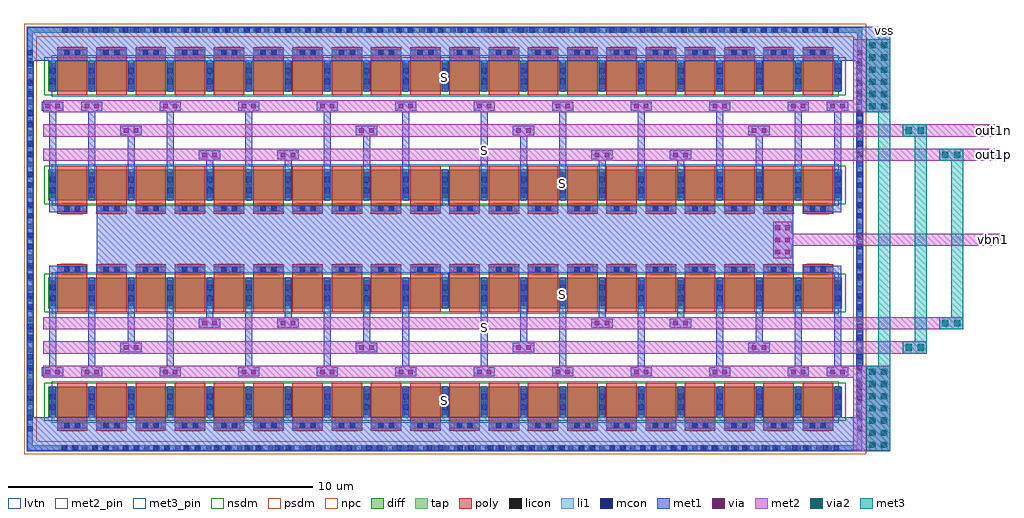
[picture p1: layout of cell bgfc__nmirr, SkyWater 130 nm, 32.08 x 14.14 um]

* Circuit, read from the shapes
.subckt bgfc__nmirr out1n out1p vbn1 vss
XM1 vss vss vss vss sky130_fd_pr__nfet_01v8_lvt w=1 l=1 m=44
XM2 out1n vbn1 vss vss sky130_fd_pr__nfet_01v8_lvt w=1 l=1 m=16
XM3 out1p vbn1 vss vss sky130_fd_pr__nfet_01v8_lvt w=1 l=1 m=16
XM4 vbn1 vbn1 vss vss sky130_fd_pr__nfet_01v8_lvt w=1 l=1 m=4
.ends

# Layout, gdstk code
from math import pi, radians
import gdstk
lib = gdstk.Library(unit=1e-6, precision=1e-09)
def R(c, l, rs):  # rectangles x0, y0, x1, y1
    for r in rs: c.add(gdstk.rectangle(r[:2], r[2:], *l))
def A(c, l, x, y, w, h, nx, ny, dx, dy):  # array of equal rectangles
    R(c, l, [(x+i*dx, y+j*dy, x+i*dx+w, y+j*dy+h) for i in range(nx) for j in range(ny)])
diff = (65, 20)
tap = (65, 44)
poly = (66, 20)
licon = (66, 44)
li1 = (67, 20)
mcon = (67, 44)
met1 = (68, 20)
via = (68, 44)
met2_pin = (69, 16)
met2 = (69, 20)
via2 = (69, 44)
met3_pin = (70, 16)
met3 = (70, 20)
nsdm = (93, 44)
psdm = (94, 20)
npc = (95, 20)
lvtn = (125, 44)

bgfcnm__guardring_n = lib.new_cell('bgfcnm__Guardring_N')
A(bgfcnm__guardring_n, licon, -72.395, 13.365, 0.17, 0.17, 75, 1, 0.34, 0)
A(bgfcnm__guardring_n, licon, -73.395, 14.525, 0.17, 0.17, 1, 35, 0, 0.34)
A(bgfcnm__guardring_n, licon, -46.135, 14.525, 0.17, 0.17, 1, 35, 0, 0.34)
A(bgfcnm__guardring_n, licon, -72.605, 27.085, 0.17, 0.17, 75, 1, 0.34, 0)
bgfcnm__guardring_n.add(gdstk.FlexPath([(-73.395,27.17),(-46.05,27.17),(-46.05,13.45),(-73.31,13.45),(-73.31,27.17)], 0.17, ends="flush", simple_path=True, layer=67, datatype=20))  # li1
bgfcnm__guardring_n.add(gdstk.FlexPath([(-73.52,27.17),(-46.05,27.17),(-46.05,13.45),(-73.31,13.45),(-73.31,27.17)], 0.42, ends="flush", simple_path=True, layer=94, datatype=20))  # psdm
bgfcnm__guardring_n.add(gdstk.FlexPath([(-73.395,27.17),(-46.05,27.17),(-46.05,13.45),(-73.31,13.45),(-73.31,27.17)], 0.17, ends="flush", simple_path=True, layer=65, datatype=44))  # tap

bgfcnm__m4 = lib.new_cell('bgfcnm__M4')
R(bgfcnm__m4, diff, [(-0.79,-0.655,0.79,0.345)])
R(bgfcnm__m4, poly, [(-0.5,-0.785,0.5,0.785)])
A(bgfcnm__m4, licon, -0.73, -0.58, 0.17, 0.17, 1, 3, 0, 0.34)
A(bgfcnm__m4, licon, 0.56, -0.58, 0.17, 0.17, 1, 3, 0, 0.34)
R(bgfcnm__m4, licon, [(-0.255,0.535,-0.085,0.705), (0.085,0.535,0.255,0.705)])
R(bgfcnm__m4, li1, [(-0.73,-0.675,-0.56,0.365), (0.56,-0.675,0.73,0.365), (-0.5,0.535,0.5,0.705)])
R(bgfcnm__m4, mcon, [(-0.73,-0.42,-0.56,-0.25), (0.56,-0.42,0.73,-0.25), (-0.73,-0.06,-0.56,0.11), (0.56,-0.06,0.73,0.11), (-0.265,0.535,-0.095,0.705), (0.095,0.535,0.265,0.705)])
R(bgfcnm__m4, met1, [(-0.76,-0.655,-0.53,0.345), (0.53,-0.655,0.76,0.345), (-0.48,0.505,0.48,0.735)])
R(bgfcnm__m4, nsdm, [(-0.915,-0.78,0.915,0.47)])
R(bgfcnm__m4, npc, [(-0.355,0.435,0.355,0.805)])
R(bgfcnm__m4, lvtn, [(-0.68,-0.835,0.68,0.525)])

via__li_m1 = lib.new_cell('via__LI_M1')
R(via__li_m1, li1, [(0.03,0.03,0.56,0.2)])
R(via__li_m1, mcon, [(0.03,0.03,0.2,0.2), (0.39,0.03,0.56,0.2)])
R(via__li_m1, met1, [(0,0,0.59,0.23)])

bgfcnm__dum = lib.new_cell('bgfcnm__DUM')
R(bgfcnm__dum, diff, [(-0.79,-0.655,0.79,0.345)])
R(bgfcnm__dum, poly, [(-0.5,-0.785,0.5,0.785)])
A(bgfcnm__dum, licon, -0.73, -0.58, 0.17, 0.17, 1, 3, 0, 0.34)
A(bgfcnm__dum, licon, 0.56, -0.58, 0.17, 0.17, 1, 3, 0, 0.34)
R(bgfcnm__dum, licon, [(-0.255,0.535,-0.085,0.705), (0.085,0.535,0.255,0.705)])
R(bgfcnm__dum, li1, [(-0.73,-0.675,-0.56,0.365), (0.56,-0.675,0.73,0.365), (-0.5,0.535,0.5,0.705)])
R(bgfcnm__dum, mcon, [(-0.73,-0.42,-0.56,-0.25), (0.56,-0.42,0.73,-0.25), (-0.73,-0.06,-0.56,0.11), (0.56,-0.06,0.73,0.11), (-0.265,0.535,-0.095,0.705), (0.095,0.535,0.265,0.705)])
R(bgfcnm__dum, met1, [(-0.76,-0.655,-0.53,0.345), (0.53,-0.655,0.76,0.345), (-0.48,0.505,0.48,0.735)])
R(bgfcnm__dum, nsdm, [(-0.915,-0.78,0.915,0.47)])
R(bgfcnm__dum, npc, [(-0.355,0.435,0.355,0.805)])
R(bgfcnm__dum, lvtn, [(-0.68,-0.835,0.68,0.525)])

via__m1_m2 = lib.new_cell('via__M1_M2')
R(via__m1_m2, met1, [(0,0.05,0.7,0.35)])
R(via__m1_m2, via, [(0.115,0.125,0.265,0.275), (0.435,0.125,0.585,0.275)])
R(via__m1_m2, met2, [(0.05,0,0.65,0.4)])

bgfcnm__m5 = lib.new_cell('bgfcnm__M5')
R(bgfcnm__m5, diff, [(-0.79,-0.655,0.79,0.345)])
R(bgfcnm__m5, poly, [(-0.5,-0.785,0.5,0.785)])
A(bgfcnm__m5, licon, -0.73, -0.58, 0.17, 0.17, 1, 3, 0, 0.34)
A(bgfcnm__m5, licon, 0.56, -0.58, 0.17, 0.17, 1, 3, 0, 0.34)
R(bgfcnm__m5, licon, [(-0.255,0.535,-0.085,0.705), (0.085,0.535,0.255,0.705)])
R(bgfcnm__m5, li1, [(-0.73,-0.675,-0.56,0.365), (0.56,-0.675,0.73,0.365), (-0.5,0.535,0.5,0.705)])
R(bgfcnm__m5, mcon, [(-0.73,-0.42,-0.56,-0.25), (0.56,-0.42,0.73,-0.25), (-0.73,-0.06,-0.56,0.11), (0.56,-0.06,0.73,0.11), (-0.265,0.535,-0.095,0.705), (0.095,0.535,0.265,0.705)])
R(bgfcnm__m5, met1, [(-0.76,-0.655,-0.53,0.345), (0.53,-0.655,0.76,0.345), (-0.48,0.505,0.48,0.735)])
R(bgfcnm__m5, nsdm, [(-0.915,-0.78,0.915,0.47)])
R(bgfcnm__m5, npc, [(-0.355,0.435,0.355,0.805)])
R(bgfcnm__m5, lvtn, [(-0.68,-0.835,0.68,0.525)])

via__m2_m3 = lib.new_cell('via__M2_M3')
R(via__m2_m3, met2, [(0,0,0.8,0.4)])
R(via__m2_m3, via2, [(0.1,0.1,0.3,0.3), (0.1,0.1,0.3,0.3), (0.5,0.1,0.7,0.3), (0.5,0.1,0.7,0.3)])
R(via__m2_m3, met3, [(0,0,0.8,0.4)])

bgfcnm__mb5 = lib.new_cell('bgfcnm__MB5')
R(bgfcnm__mb5, diff, [(-0.79,-0.655,0.79,0.345)])
R(bgfcnm__mb5, poly, [(-0.5,-0.785,0.5,0.785)])
A(bgfcnm__mb5, licon, -0.73, -0.58, 0.17, 0.17, 1, 3, 0, 0.34)
A(bgfcnm__mb5, licon, 0.56, -0.58, 0.17, 0.17, 1, 3, 0, 0.34)
R(bgfcnm__mb5, licon, [(-0.255,0.535,-0.085,0.705), (0.085,0.535,0.255,0.705)])
R(bgfcnm__mb5, li1, [(-0.73,-0.675,-0.56,0.365), (0.56,-0.675,0.73,0.365), (-0.5,0.535,0.5,0.705)])
R(bgfcnm__mb5, mcon, [(-0.73,-0.42,-0.56,-0.25), (0.56,-0.42,0.73,-0.25), (-0.73,-0.06,-0.56,0.11), (0.56,-0.06,0.73,0.11), (-0.265,0.535,-0.095,0.705), (0.095,0.535,0.265,0.705)])
R(bgfcnm__mb5, met1, [(-0.76,-0.655,-0.53,0.345), (0.53,-0.655,0.76,0.345), (-0.48,0.505,0.48,0.735)])
R(bgfcnm__mb5, nsdm, [(-0.915,-0.78,0.915,0.47)])
R(bgfcnm__mb5, npc, [(-0.355,0.435,0.355,0.805)])
R(bgfcnm__mb5, lvtn, [(-0.68,-0.835,0.68,0.525)])

bgfc__nmirr = lib.new_cell('bgfc__nmirr')
R(bgfc__nmirr, met1, [(0.095,0.095,27.585,1.215), (27.355,0.095,28.48,2.905), (13.725,5.795,13.955,5.955), (2.395,5.955,25.285,8.185), (13.725,8.185,13.955,8.345), (27.355,11.235,28.48,14.045), (0.095,12.925,27.585,14.045)])
R(bgfc__nmirr, met2_pin, [(31.68,6.84,32.08,7.24), (31.68,9.635,32.08,10.035), (31.68,10.435,32.08,10.835)])
R(bgfc__nmirr, met2, [(27.26,0.095,28.48,2.905), (27.26,11.235,28.48,13.64)])
R(bgfc__nmirr, met3_pin, [(28.08,13.845,28.48,14.045)])
bgfc__nmirr.add(gdstk.FlexPath([(28.28,13.845),(28.28,2.705)], 0.4, ends="extended", simple_path=True, layer=70, datatype=20))  # met3
bgfc__nmirr.add(gdstk.FlexPath([(29.48,10.635),(29.48,3.505)], 0.4, ends="extended", simple_path=True, layer=70, datatype=20))  # met3
bgfc__nmirr.add(gdstk.FlexPath([(30.68,9.835),(30.68,4.305)], 0.4, ends="extended", simple_path=True, layer=70, datatype=20))  # met3
bgfc__nmirr.add(gdstk.FlexPath([(24.835,7.04),(31.88,7.04)], 0.4, ends="extended", simple_path=True, layer=69, datatype=20))  # met2
bgfc__nmirr.add(gdstk.FlexPath([(0.84,2.705),(28.28,2.705)], 0.4, ends="extended", simple_path=True, layer=69, datatype=20))  # met2
bgfc__nmirr.add(gdstk.FlexPath([(0.84,3.505),(29.48,3.505)], 0.4, ends="extended", simple_path=True, layer=69, datatype=20))  # met2
bgfc__nmirr.add(gdstk.FlexPath([(0.84,4.305),(30.68,4.305)], 0.4, ends="extended", simple_path=True, layer=69, datatype=20))  # met2
bgfc__nmirr.add(gdstk.FlexPath([(0.84,11.435),(28.28,11.435)], 0.4, ends="extended", simple_path=True, layer=69, datatype=20))  # met2
bgfc__nmirr.add(gdstk.FlexPath([(0.84,10.635),(29.48,10.635)], 0.4, ends="extended", simple_path=True, layer=69, datatype=20))  # met2
bgfc__nmirr.add(gdstk.FlexPath([(0.84,9.835),(30.68,9.835)], 0.4, ends="extended", simple_path=True, layer=69, datatype=20))  # met2
bgfc__nmirr.add(gdstk.FlexPath([(30.68,9.835),(31.88,9.835)], 0.4, ends="extended", simple_path=True, layer=69, datatype=20))  # met2
bgfc__nmirr.add(gdstk.FlexPath([(29.48,10.635),(31.88,10.635)], 0.4, ends="extended", simple_path=True, layer=69, datatype=20))  # met2
bgfc__nmirr.add(gdstk.FlexPath([(0.94,5.795),(0.94,6.07),(1.105,6.07)], 0.23, ends="extended", simple_path=True, layer=68, datatype=20))  # met1
bgfc__nmirr.add(gdstk.FlexPath([(0.94,8.345),(0.94,8.07),(1.105,8.07)], 0.23, ends="extended", simple_path=True, layer=68, datatype=20))  # met1
bgfc__nmirr.add(gdstk.FlexPath([(1.22,0.94),(26.46,0.94)], 0.23, ends="extended", simple_path=True, layer=68, datatype=20))  # met1
bgfc__nmirr.add(gdstk.FlexPath([(26.74,4.68),(26.74,2.67)], 0.23, ends="extended", simple_path=True, layer=68, datatype=20))  # met1
bgfc__nmirr.add(gdstk.FlexPath([(26.74,9.46),(26.74,11.47)], 0.23, ends="extended", simple_path=True, layer=68, datatype=20))  # met1
bgfc__nmirr.add(gdstk.FlexPath([(27.47,13.93),(0.21,13.93),(0.21,0.21),(27.47,0.21),(27.47,13.93)], 0.23, ends="extended", simple_path=True, layer=68, datatype=20))  # met1
bgfc__nmirr.add(gdstk.FlexPath([(25.45,4.68),(25.45,2.67)], 0.23, ends="extended", simple_path=True, layer=68, datatype=20))  # met1
bgfc__nmirr.add(gdstk.FlexPath([(26.74,5.795),(26.74,6.07),(26.575,6.07)], 0.23, ends="extended", simple_path=True, layer=68, datatype=20))  # met1
bgfc__nmirr.add(gdstk.FlexPath([(26.74,8.345),(26.74,8.07),(26.575,8.07)], 0.23, ends="extended", simple_path=True, layer=68, datatype=20))  # met1
bgfc__nmirr.add(gdstk.FlexPath([(22.87,4.68),(22.87,2.67)], 0.23, ends="extended", simple_path=True, layer=68, datatype=20))  # met1
bgfc__nmirr.add(gdstk.FlexPath([(20.29,4.68),(20.29,2.67)], 0.23, ends="extended", simple_path=True, layer=68, datatype=20))  # met1
bgfc__nmirr.add(gdstk.FlexPath([(0.94,4.68),(0.94,2.67)], 0.23, ends="extended", simple_path=True, layer=68, datatype=20))  # met1
bgfc__nmirr.add(gdstk.FlexPath([(2.23,9.46),(2.23,11.47)], 0.23, ends="extended", simple_path=True, layer=68, datatype=20))  # met1
bgfc__nmirr.add(gdstk.FlexPath([(0.94,9.46),(0.94,11.47)], 0.23, ends="extended", simple_path=True, layer=68, datatype=20))  # met1
bgfc__nmirr.add(gdstk.FlexPath([(17.71,4.68),(17.71,2.67)], 0.23, ends="extended", simple_path=True, layer=68, datatype=20))  # met1
bgfc__nmirr.add(gdstk.FlexPath([(15.13,4.68),(15.13,2.67)], 0.23, ends="extended", simple_path=True, layer=68, datatype=20))  # met1
bgfc__nmirr.add(gdstk.FlexPath([(12.55,4.68),(12.55,2.67)], 0.23, ends="extended", simple_path=True, layer=68, datatype=20))  # met1
bgfc__nmirr.add(gdstk.FlexPath([(9.97,4.68),(9.97,2.67)], 0.23, ends="extended", simple_path=True, layer=68, datatype=20))  # met1
bgfc__nmirr.add(gdstk.FlexPath([(7.39,4.68),(7.39,2.67)], 0.23, ends="extended", simple_path=True, layer=68, datatype=20))  # met1
bgfc__nmirr.add(gdstk.FlexPath([(4.81,4.68),(4.81,2.67)], 0.23, ends="extended", simple_path=True, layer=68, datatype=20))  # met1
bgfc__nmirr.add(gdstk.FlexPath([(2.23,4.68),(2.23,2.67)], 0.23, ends="extended", simple_path=True, layer=68, datatype=20))  # met1
bgfc__nmirr.add(gdstk.FlexPath([(3.52,4.68),(3.52,3.47)], 0.23, ends="extended", simple_path=True, layer=68, datatype=20))  # met1
bgfc__nmirr.add(gdstk.FlexPath([(1.22,13.2),(26.46,13.2)], 0.23, ends="extended", simple_path=True, layer=68, datatype=20))  # met1
bgfc__nmirr.add(gdstk.FlexPath([(11.26,4.68),(11.26,3.47)], 0.23, ends="extended", simple_path=True, layer=68, datatype=20))  # met1
bgfc__nmirr.add(gdstk.FlexPath([(6.1,4.68),(6.1,4.27)], 0.23, ends="extended", simple_path=True, layer=68, datatype=20))  # met1
bgfc__nmirr.add(gdstk.FlexPath([(16.42,4.68),(16.42,3.47)], 0.23, ends="extended", simple_path=True, layer=68, datatype=20))  # met1
bgfc__nmirr.add(gdstk.FlexPath([(25.45,9.46),(25.45,11.47)], 0.23, ends="extended", simple_path=True, layer=68, datatype=20))  # met1
bgfc__nmirr.add(gdstk.FlexPath([(22.87,9.46),(22.87,11.47)], 0.23, ends="extended", simple_path=True, layer=68, datatype=20))  # met1
bgfc__nmirr.add(gdstk.FlexPath([(24.16,4.68),(24.16,3.47)], 0.23, ends="extended", simple_path=True, layer=68, datatype=20))  # met1
bgfc__nmirr.add(gdstk.FlexPath([(8.68,4.68),(8.68,4.27)], 0.23, ends="extended", simple_path=True, layer=68, datatype=20))  # met1
bgfc__nmirr.add(gdstk.FlexPath([(20.29,9.46),(20.29,11.47)], 0.23, ends="extended", simple_path=True, layer=68, datatype=20))  # met1
bgfc__nmirr.add(gdstk.FlexPath([(17.71,9.46),(17.71,11.47)], 0.23, ends="extended", simple_path=True, layer=68, datatype=20))  # met1
bgfc__nmirr.add(gdstk.FlexPath([(19,4.68),(19,4.27)], 0.23, ends="extended", simple_path=True, layer=68, datatype=20))  # met1
bgfc__nmirr.add(gdstk.FlexPath([(21.58,4.68),(21.58,4.27)], 0.23, ends="extended", simple_path=True, layer=68, datatype=20))  # met1
bgfc__nmirr.add(gdstk.FlexPath([(15.13,9.46),(15.13,11.47)], 0.23, ends="extended", simple_path=True, layer=68, datatype=20))  # met1
bgfc__nmirr.add(gdstk.FlexPath([(12.55,9.46),(12.55,11.47)], 0.23, ends="extended", simple_path=True, layer=68, datatype=20))  # met1
bgfc__nmirr.add(gdstk.FlexPath([(9.97,9.46),(9.97,11.47)], 0.23, ends="extended", simple_path=True, layer=68, datatype=20))  # met1
bgfc__nmirr.add(gdstk.FlexPath([(7.39,9.46),(7.39,11.47)], 0.23, ends="extended", simple_path=True, layer=68, datatype=20))  # met1
bgfc__nmirr.add(gdstk.FlexPath([(4.81,9.46),(4.81,11.47)], 0.23, ends="extended", simple_path=True, layer=68, datatype=20))  # met1
bgfc__nmirr.add(gdstk.FlexPath([(3.52,9.46),(3.52,10.67)], 0.23, ends="extended", simple_path=True, layer=68, datatype=20))  # met1
bgfc__nmirr.add(gdstk.FlexPath([(11.26,9.46),(11.26,10.67)], 0.23, ends="extended", simple_path=True, layer=68, datatype=20))  # met1
bgfc__nmirr.add(gdstk.FlexPath([(6.1,9.46),(6.1,9.87)], 0.23, ends="extended", simple_path=True, layer=68, datatype=20))  # met1
bgfc__nmirr.add(gdstk.FlexPath([(16.42,9.46),(16.42,10.67)], 0.23, ends="extended", simple_path=True, layer=68, datatype=20))  # met1
bgfc__nmirr.add(gdstk.FlexPath([(24.16,9.46),(24.16,10.67)], 0.23, ends="extended", simple_path=True, layer=68, datatype=20))  # met1
bgfc__nmirr.add(gdstk.FlexPath([(8.68,9.46),(8.68,9.87)], 0.23, ends="extended", simple_path=True, layer=68, datatype=20))  # met1
bgfc__nmirr.add(gdstk.FlexPath([(19,9.46),(19,9.87)], 0.23, ends="extended", simple_path=True, layer=68, datatype=20))  # met1
bgfc__nmirr.add(gdstk.FlexPath([(21.58,9.46),(21.58,9.87)], 0.23, ends="extended", simple_path=True, layer=68, datatype=20))  # met1
bgfc__nmirr.add(gdstk.Reference(bgfcnm__guardring_n, (-45.84,-13.24), rotation=pi, x_reflection=True))
bgfc__nmirr.add(gdstk.Reference(bgfcnm__m4, (15.775,5.45), rotation=pi, x_reflection=True))
bgfc__nmirr.add(gdstk.Reference(via__li_m1, (15.81,0.095), rotation=pi, x_reflection=True))
bgfc__nmirr.add(gdstk.Reference(bgfcnm__dum, (15.775,1.56), rotation=pi))
bgfc__nmirr.add(gdstk.Reference(via__li_m1, (0.325,7.31), rotation=3*pi/2, x_reflection=True))
bgfc__nmirr.add(gdstk.Reference(via__m1_m2, (14.78,2.505)))
bgfc__nmirr.add(gdstk.Reference(bgfcnm__m4, (15.775,8.69), rotation=pi))
bgfc__nmirr.add(gdstk.Reference(bgfcnm__dum, (15.775,12.58), rotation=pi, x_reflection=True))
bgfc__nmirr.add(gdstk.Reference(via__m1_m2, (14.78,11.635), x_reflection=True))
bgfc__nmirr.add(gdstk.Reference(via__li_m1, (27.585,7.31), rotation=3*pi/2, x_reflection=True))
bgfc__nmirr.add(gdstk.Reference(via__li_m1, (15.81,13.815), rotation=pi, x_reflection=True))
bgfc__nmirr.add(gdstk.Reference(via__m1_m2, (24.585,7.24), x_reflection=True))
bgfc__nmirr.add(gdstk.Reference(bgfcnm__m4, (24.805,8.69), rotation=pi))
bgfc__nmirr.add(gdstk.Reference(bgfcnm__m4, (23.515,8.69), rotation=pi))
bgfc__nmirr.add(gdstk.Reference(bgfcnm__m5, (22.225,8.69), rotation=pi))
bgfc__nmirr.add(gdstk.Reference(bgfcnm__m5, (20.935,8.69), rotation=pi))
bgfc__nmirr.add(gdstk.Reference(bgfcnm__dum, (17.065,12.58), rotation=pi, x_reflection=True))
bgfc__nmirr.add(gdstk.Reference(via__m2_m3, (29.68,10.835), rotation=pi))
bgfc__nmirr.add(gdstk.Reference(bgfcnm__dum, (19.645,12.58), rotation=pi, x_reflection=True))
bgfc__nmirr.add(gdstk.Reference(bgfcnm__dum, (18.355,12.58), rotation=pi, x_reflection=True))
bgfc__nmirr.add(gdstk.Reference(bgfcnm__dum, (24.805,12.58), rotation=pi, x_reflection=True))
bgfc__nmirr.add(gdstk.Reference(bgfcnm__dum, (23.515,12.58), rotation=pi, x_reflection=True))
bgfc__nmirr.add(gdstk.Reference(bgfcnm__dum, (22.225,12.58), rotation=pi, x_reflection=True))
bgfc__nmirr.add(gdstk.Reference(bgfcnm__dum, (20.935,12.58), rotation=pi, x_reflection=True))
bgfc__nmirr.add(gdstk.Reference(bgfcnm__dum, (26.095,8.69), rotation=pi))
bgfc__nmirr.add(gdstk.Reference(bgfcnm__dum, (26.095,12.58), rotation=pi, x_reflection=True))
bgfc__nmirr.add(gdstk.Reference(via__m1_m2, (25.1,11.635), x_reflection=True))
bgfc__nmirr.add(gdstk.Reference(via__m1_m2, (22.52,11.635), x_reflection=True))
bgfc__nmirr.add(gdstk.Reference(via__m1_m2, (19.94,11.635), x_reflection=True))
bgfc__nmirr.add(gdstk.Reference(via__m1_m2, (17.36,11.635), x_reflection=True))
bgfc__nmirr.add(gdstk.Reference(via__m2_m3, (30.88,10.035), rotation=pi))
bgfc__nmirr.add(gdstk.Reference(via__m1_m2, (16.07,10.835), x_reflection=True))
bgfc__nmirr.add(gdstk.Reference(via__m1_m2, (23.81,10.835), x_reflection=True))
bgfc__nmirr.add(gdstk.Reference(via__m1_m2, (18.65,10.035), x_reflection=True))
bgfc__nmirr.add(gdstk.Reference(via__m1_m2, (21.23,10.035), x_reflection=True))
bgfc__nmirr.add(gdstk.Reference(bgfcnm__m4, (17.065,8.69), rotation=pi))
bgfc__nmirr.add(gdstk.Reference(via__li_m1, (27.585,8.31), rotation=3*pi/2, x_reflection=True))
bgfc__nmirr.add(gdstk.Reference(via__li_m1, (27.585,9.31), rotation=3*pi/2, x_reflection=True))
bgfc__nmirr.add(gdstk.Reference(via__li_m1, (27.585,10.31), rotation=3*pi/2, x_reflection=True))
bgfc__nmirr.add(gdstk.Reference(via__li_m1, (27.585,11.31), rotation=3*pi/2, x_reflection=True))
bgfc__nmirr.add(gdstk.Reference(via__li_m1, (27.585,12.31), rotation=3*pi/2, x_reflection=True))
bgfc__nmirr.add(gdstk.Reference(via__li_m1, (27.585,13.31), rotation=3*pi/2, x_reflection=True))
bgfc__nmirr.add(gdstk.Reference(via__li_m1, (26.81,13.815), rotation=pi, x_reflection=True))
bgfc__nmirr.add(gdstk.Reference(via__li_m1, (25.81,13.815), rotation=pi, x_reflection=True))
bgfc__nmirr.add(gdstk.Reference(via__li_m1, (24.81,13.815), rotation=pi, x_reflection=True))
bgfc__nmirr.add(gdstk.Reference(via__li_m1, (23.81,13.815), rotation=pi, x_reflection=True))
bgfc__nmirr.add(gdstk.Reference(via__li_m1, (22.81,13.815), rotation=pi, x_reflection=True))
bgfc__nmirr.add(gdstk.Reference(via__li_m1, (21.81,13.815), rotation=pi, x_reflection=True))
bgfc__nmirr.add(gdstk.Reference(via__li_m1, (20.81,13.815), rotation=pi, x_reflection=True))
bgfc__nmirr.add(gdstk.Reference(via__li_m1, (19.81,13.815), rotation=pi, x_reflection=True))
bgfc__nmirr.add(gdstk.Reference(via__li_m1, (18.81,13.815), rotation=pi, x_reflection=True))
bgfc__nmirr.add(gdstk.Reference(via__li_m1, (17.81,13.815), rotation=pi, x_reflection=True))
bgfc__nmirr.add(gdstk.Reference(via__li_m1, (16.81,13.815), rotation=pi, x_reflection=True))
bgfc__nmirr.add(gdstk.Reference(via__m2_m3, (28.48,11.635), rotation=pi))
bgfc__nmirr.add(gdstk.Reference(via__m1_m2, (26.39,11.635), x_reflection=True))
bgfc__nmirr.add(gdstk.Reference(bgfcnm__m5, (19.645,8.69), rotation=pi))
bgfc__nmirr.add(gdstk.Reference(via__m2_m3, (28.48,12.035), rotation=pi))
bgfc__nmirr.add(gdstk.Reference(via__m2_m3, (28.48,12.435), rotation=pi))
bgfc__nmirr.add(gdstk.Reference(via__m2_m3, (28.48,12.835), rotation=pi))
bgfc__nmirr.add(gdstk.Reference(via__m1_m2, (27.73,11.635), x_reflection=True))
bgfc__nmirr.add(gdstk.Reference(via__m1_m2, (27.73,12.035), x_reflection=True))
bgfc__nmirr.add(gdstk.Reference(via__m1_m2, (27.73,12.435), x_reflection=True))
bgfc__nmirr.add(gdstk.Reference(via__m1_m2, (27.73,12.835), x_reflection=True))
bgfc__nmirr.add(gdstk.Reference(via__m2_m3, (28.48,13.235), rotation=pi))
bgfc__nmirr.add(gdstk.Reference(via__m1_m2, (27.73,13.235), x_reflection=True))
bgfc__nmirr.add(gdstk.Reference(via__m2_m3, (28.48,13.635), rotation=pi))
bgfc__nmirr.add(gdstk.Reference(via__m1_m2, (27.73,13.635), x_reflection=True))
bgfc__nmirr.add(gdstk.Reference(via__m2_m3, (28.48,13.635), rotation=pi))
bgfc__nmirr.add(gdstk.Reference(via__m1_m2, (27.73,13.635), x_reflection=True))
bgfc__nmirr.add(gdstk.Reference(bgfcnm__m5, (18.355,8.69), rotation=pi))
bgfc__nmirr.add(gdstk.Reference(via__m1_m2, (24.585,7.64), x_reflection=True))
bgfc__nmirr.add(gdstk.Reference(bgfcnm__dum, (10.615,12.58), rotation=pi, x_reflection=True))
bgfc__nmirr.add(gdstk.Reference(bgfcnm__m4, (11.905,8.69), rotation=pi))
bgfc__nmirr.add(gdstk.Reference(bgfcnm__m4, (10.615,8.69), rotation=pi))
bgfc__nmirr.add(gdstk.Reference(bgfcnm__dum, (9.325,12.58), rotation=pi, x_reflection=True))
bgfc__nmirr.add(gdstk.Reference(bgfcnm__dum, (8.035,12.58), rotation=pi, x_reflection=True))
bgfc__nmirr.add(gdstk.Reference(via__li_m1, (0.325,9.31), rotation=3*pi/2, x_reflection=True))
bgfc__nmirr.add(gdstk.Reference(via__li_m1, (0.325,10.31), rotation=3*pi/2, x_reflection=True))
bgfc__nmirr.add(gdstk.Reference(bgfcnm__dum, (4.165,12.58), rotation=pi, x_reflection=True))
bgfc__nmirr.add(gdstk.Reference(bgfcnm__dum, (2.875,12.58), rotation=pi, x_reflection=True))
bgfc__nmirr.add(gdstk.Reference(bgfcnm__dum, (6.745,12.58), rotation=pi, x_reflection=True))
bgfc__nmirr.add(gdstk.Reference(bgfcnm__dum, (5.455,12.58), rotation=pi, x_reflection=True))
bgfc__nmirr.add(gdstk.Reference(bgfcnm__m5, (9.325,8.69), rotation=pi))
bgfc__nmirr.add(gdstk.Reference(bgfcnm__m5, (8.035,8.69), rotation=pi))
bgfc__nmirr.add(gdstk.Reference(via__li_m1, (0.325,11.31), rotation=3*pi/2, x_reflection=True))
bgfc__nmirr.add(gdstk.Reference(via__li_m1, (0.325,12.31), rotation=3*pi/2, x_reflection=True))
bgfc__nmirr.add(gdstk.Reference(bgfcnm__m4, (4.165,8.69), rotation=pi))
bgfc__nmirr.add(gdstk.Reference(bgfcnm__m4, (2.875,8.69), rotation=pi))
bgfc__nmirr.add(gdstk.Reference(bgfcnm__dum, (1.585,8.69), rotation=pi))
bgfc__nmirr.add(gdstk.Reference(bgfcnm__dum, (1.585,12.58), rotation=pi, x_reflection=True))
bgfc__nmirr.add(gdstk.Reference(via__li_m1, (14.81,13.815), rotation=pi, x_reflection=True))
bgfc__nmirr.add(gdstk.Reference(via__li_m1, (13.81,13.815), rotation=pi, x_reflection=True))
bgfc__nmirr.add(gdstk.Reference(via__li_m1, (12.81,13.815), rotation=pi, x_reflection=True))
bgfc__nmirr.add(gdstk.Reference(via__li_m1, (11.81,13.815), rotation=pi, x_reflection=True))
bgfc__nmirr.add(gdstk.Reference(via__li_m1, (10.81,13.815), rotation=pi, x_reflection=True))
bgfc__nmirr.add(gdstk.Reference(via__li_m1, (9.81,13.815), rotation=pi, x_reflection=True))
bgfc__nmirr.add(gdstk.Reference(via__li_m1, (8.81,13.815), rotation=pi, x_reflection=True))
bgfc__nmirr.add(gdstk.Reference(via__li_m1, (7.81,13.815), rotation=pi, x_reflection=True))
bgfc__nmirr.add(gdstk.Reference(via__li_m1, (6.81,13.815), rotation=pi, x_reflection=True))
bgfc__nmirr.add(gdstk.Reference(via__li_m1, (5.81,13.815), rotation=pi, x_reflection=True))
bgfc__nmirr.add(gdstk.Reference(via__li_m1, (4.81,13.815), rotation=pi, x_reflection=True))
bgfc__nmirr.add(gdstk.Reference(via__li_m1, (3.81,13.815), rotation=pi, x_reflection=True))
bgfc__nmirr.add(gdstk.Reference(via__li_m1, (2.81,13.815), rotation=pi, x_reflection=True))
bgfc__nmirr.add(gdstk.Reference(via__li_m1, (1.81,13.815), rotation=pi, x_reflection=True))
bgfc__nmirr.add(gdstk.Reference(bgfcnm__m5, (6.745,8.69), rotation=pi))
bgfc__nmirr.add(gdstk.Reference(via__m1_m2, (0.59,11.635), x_reflection=True))
bgfc__nmirr.add(gdstk.Reference(bgfcnm__m5, (5.455,8.69), rotation=pi))
bgfc__nmirr.add(gdstk.Reference(via__li_m1, (0.325,13.31), rotation=3*pi/2, x_reflection=True))
bgfc__nmirr.add(gdstk.Reference(via__li_m1, (0.325,8.31), rotation=3*pi/2, x_reflection=True))
bgfc__nmirr.add(gdstk.Reference(bgfcnm__mb5, (14.485,8.69), rotation=pi))
bgfc__nmirr.add(gdstk.Reference(via__m1_m2, (12.2,11.635), x_reflection=True))
bgfc__nmirr.add(gdstk.Reference(via__m1_m2, (9.62,11.635), x_reflection=True))
bgfc__nmirr.add(gdstk.Reference(via__m1_m2, (7.04,11.635), x_reflection=True))
bgfc__nmirr.add(gdstk.Reference(via__m1_m2, (4.46,11.635), x_reflection=True))
bgfc__nmirr.add(gdstk.Reference(via__m1_m2, (1.88,11.635), x_reflection=True))
bgfc__nmirr.add(gdstk.Reference(via__m1_m2, (3.17,10.835), x_reflection=True))
bgfc__nmirr.add(gdstk.Reference(via__m1_m2, (10.91,10.835), x_reflection=True))
bgfc__nmirr.add(gdstk.Reference(via__m1_m2, (5.75,10.035), x_reflection=True))
bgfc__nmirr.add(gdstk.Reference(bgfcnm__mb5, (13.195,8.69), rotation=pi))
bgfc__nmirr.add(gdstk.Reference(bgfcnm__dum, (14.485,12.58), rotation=pi, x_reflection=True))
bgfc__nmirr.add(gdstk.Reference(via__m1_m2, (8.33,10.035), x_reflection=True))
bgfc__nmirr.add(gdstk.Reference(bgfcnm__dum, (13.195,12.58), rotation=pi, x_reflection=True))
bgfc__nmirr.add(gdstk.Reference(bgfcnm__dum, (11.905,12.58), rotation=pi, x_reflection=True))
bgfc__nmirr.add(gdstk.Reference(via__li_m1, (5.81,0.095), rotation=pi, x_reflection=True))
bgfc__nmirr.add(gdstk.Reference(via__li_m1, (4.81,0.095), rotation=pi, x_reflection=True))
bgfc__nmirr.add(gdstk.Reference(via__li_m1, (3.81,0.095), rotation=pi, x_reflection=True))
bgfc__nmirr.add(gdstk.Reference(via__li_m1, (2.81,0.095), rotation=pi, x_reflection=True))
bgfc__nmirr.add(gdstk.Reference(via__li_m1, (1.81,0.095), rotation=pi, x_reflection=True))
bgfc__nmirr.add(gdstk.Reference(via__li_m1, (0.325,1.31), rotation=3*pi/2, x_reflection=True))
bgfc__nmirr.add(gdstk.Reference(via__li_m1, (0.325,2.31), rotation=3*pi/2, x_reflection=True))
bgfc__nmirr.add(gdstk.Reference(via__li_m1, (0.325,3.31), rotation=3*pi/2, x_reflection=True))
bgfc__nmirr.add(gdstk.Reference(via__li_m1, (0.325,4.31), rotation=3*pi/2, x_reflection=True))
bgfc__nmirr.add(gdstk.Reference(bgfcnm__dum, (14.485,1.56), rotation=pi))
bgfc__nmirr.add(gdstk.Reference(bgfcnm__dum, (13.195,1.56), rotation=pi))
bgfc__nmirr.add(gdstk.Reference(bgfcnm__dum, (11.905,1.56), rotation=pi))
bgfc__nmirr.add(gdstk.Reference(bgfcnm__dum, (10.615,1.56), rotation=pi))
bgfc__nmirr.add(gdstk.Reference(bgfcnm__m4, (11.905,5.45), rotation=pi, x_reflection=True))
bgfc__nmirr.add(gdstk.Reference(bgfcnm__dum, (9.325,1.56), rotation=pi))
bgfc__nmirr.add(gdstk.Reference(bgfcnm__dum, (8.035,1.56), rotation=pi))
bgfc__nmirr.add(gdstk.Reference(bgfcnm__dum, (4.165,1.56), rotation=pi))
bgfc__nmirr.add(gdstk.Reference(bgfcnm__dum, (2.875,1.56), rotation=pi))
bgfc__nmirr.add(gdstk.Reference(bgfcnm__dum, (6.745,1.56), rotation=pi))
bgfc__nmirr.add(gdstk.Reference(bgfcnm__dum, (5.455,1.56), rotation=pi))
bgfc__nmirr.add(gdstk.Reference(via__li_m1, (0.325,5.31), rotation=3*pi/2, x_reflection=True))
bgfc__nmirr.add(gdstk.Reference(via__li_m1, (0.325,6.31), rotation=3*pi/2, x_reflection=True))
bgfc__nmirr.add(gdstk.Reference(bgfcnm__dum, (1.585,5.45), rotation=pi, x_reflection=True))
bgfc__nmirr.add(gdstk.Reference(bgfcnm__m4, (10.615,5.45), rotation=pi, x_reflection=True))
bgfc__nmirr.add(gdstk.Reference(bgfcnm__dum, (1.585,1.56), rotation=pi))
bgfc__nmirr.add(gdstk.Reference(bgfcnm__mb5, (13.195,5.45), rotation=pi, x_reflection=True))
bgfc__nmirr.add(gdstk.Reference(bgfcnm__m5, (9.325,5.45), rotation=pi, x_reflection=True))
bgfc__nmirr.add(gdstk.Reference(bgfcnm__m5, (8.035,5.45), rotation=pi, x_reflection=True))
bgfc__nmirr.add(gdstk.Reference(bgfcnm__m4, (4.165,5.45), rotation=pi, x_reflection=True))
bgfc__nmirr.add(gdstk.Reference(bgfcnm__m4, (2.875,5.45), rotation=pi, x_reflection=True))
bgfc__nmirr.add(gdstk.Reference(bgfcnm__m5, (6.745,5.45), rotation=pi, x_reflection=True))
bgfc__nmirr.add(gdstk.Reference(bgfcnm__m5, (5.455,5.45), rotation=pi, x_reflection=True))
bgfc__nmirr.add(gdstk.Reference(via__m1_m2, (1.88,2.505)))
bgfc__nmirr.add(gdstk.Reference(via__m1_m2, (0.59,2.505)))
bgfc__nmirr.add(gdstk.Reference(via__m1_m2, (12.2,2.505)))
bgfc__nmirr.add(gdstk.Reference(via__m1_m2, (9.62,2.505)))
bgfc__nmirr.add(gdstk.Reference(via__m1_m2, (7.04,2.505)))
bgfc__nmirr.add(gdstk.Reference(via__m1_m2, (4.46,2.505)))
bgfc__nmirr.add(gdstk.Reference(via__m1_m2, (3.17,3.305)))
bgfc__nmirr.add(gdstk.Reference(bgfcnm__mb5, (14.485,5.45), rotation=pi, x_reflection=True))
bgfc__nmirr.add(gdstk.Reference(via__li_m1, (14.81,0.095), rotation=pi, x_reflection=True))
bgfc__nmirr.add(gdstk.Reference(via__m1_m2, (10.91,3.305)))
bgfc__nmirr.add(gdstk.Reference(via__m1_m2, (5.75,4.105)))
bgfc__nmirr.add(gdstk.Reference(via__li_m1, (13.81,0.095), rotation=pi, x_reflection=True))
bgfc__nmirr.add(gdstk.Reference(via__li_m1, (12.81,0.095), rotation=pi, x_reflection=True))
bgfc__nmirr.add(gdstk.Reference(via__m1_m2, (8.33,4.105)))
bgfc__nmirr.add(gdstk.Reference(via__li_m1, (11.81,0.095), rotation=pi, x_reflection=True))
bgfc__nmirr.add(gdstk.Reference(via__li_m1, (10.81,0.095), rotation=pi, x_reflection=True))
bgfc__nmirr.add(gdstk.Reference(via__li_m1, (9.81,0.095), rotation=pi, x_reflection=True))
bgfc__nmirr.add(gdstk.Reference(via__li_m1, (8.81,0.095), rotation=pi, x_reflection=True))
bgfc__nmirr.add(gdstk.Reference(via__li_m1, (7.81,0.095), rotation=pi, x_reflection=True))
bgfc__nmirr.add(gdstk.Reference(via__li_m1, (6.81,0.095), rotation=pi, x_reflection=True))
bgfc__nmirr.add(gdstk.Reference(bgfcnm__m5, (20.935,5.45), rotation=pi, x_reflection=True))
bgfc__nmirr.add(gdstk.Reference(via__li_m1, (23.81,0.095), rotation=pi, x_reflection=True))
bgfc__nmirr.add(gdstk.Reference(bgfcnm__dum, (17.065,1.56), rotation=pi))
bgfc__nmirr.add(gdstk.Reference(via__li_m1, (22.81,0.095), rotation=pi, x_reflection=True))
bgfc__nmirr.add(gdstk.Reference(bgfcnm__m5, (19.645,5.45), rotation=pi, x_reflection=True))
bgfc__nmirr.add(gdstk.Reference(bgfcnm__m5, (18.355,5.45), rotation=pi, x_reflection=True))
bgfc__nmirr.add(gdstk.Reference(bgfcnm__dum, (19.645,1.56), rotation=pi))
bgfc__nmirr.add(gdstk.Reference(bgfcnm__dum, (18.355,1.56), rotation=pi))
bgfc__nmirr.add(gdstk.Reference(via__li_m1, (21.81,0.095), rotation=pi, x_reflection=True))
bgfc__nmirr.add(gdstk.Reference(via__li_m1, (20.81,0.095), rotation=pi, x_reflection=True))
bgfc__nmirr.add(gdstk.Reference(via__m1_m2, (16.07,3.305)))
bgfc__nmirr.add(gdstk.Reference(bgfcnm__m4, (17.065,5.45), rotation=pi, x_reflection=True))
bgfc__nmirr.add(gdstk.Reference(via__li_m1, (26.81,0.095), rotation=pi, x_reflection=True))
bgfc__nmirr.add(gdstk.Reference(via__m1_m2, (23.81,3.305)))
bgfc__nmirr.add(gdstk.Reference(bgfcnm__dum, (24.805,1.56), rotation=pi))
bgfc__nmirr.add(gdstk.Reference(bgfcnm__dum, (23.515,1.56), rotation=pi))
bgfc__nmirr.add(gdstk.Reference(bgfcnm__dum, (22.225,1.56), rotation=pi))
bgfc__nmirr.add(gdstk.Reference(via__m1_m2, (18.65,4.105)))
bgfc__nmirr.add(gdstk.Reference(via__m1_m2, (21.23,4.105)))
bgfc__nmirr.add(gdstk.Reference(bgfcnm__dum, (20.935,1.56), rotation=pi))
bgfc__nmirr.add(gdstk.Reference(bgfcnm__dum, (26.095,5.45), rotation=pi, x_reflection=True))
bgfc__nmirr.add(gdstk.Reference(via__li_m1, (19.81,0.095), rotation=pi, x_reflection=True))
bgfc__nmirr.add(gdstk.Reference(bgfcnm__dum, (26.095,1.56), rotation=pi))
bgfc__nmirr.add(gdstk.Reference(via__m1_m2, (26.39,2.505)))
bgfc__nmirr.add(gdstk.Reference(via__li_m1, (18.81,0.095), rotation=pi, x_reflection=True))
bgfc__nmirr.add(gdstk.Reference(via__li_m1, (25.81,0.095), rotation=pi, x_reflection=True))
bgfc__nmirr.add(gdstk.Reference(via__li_m1, (24.81,0.095), rotation=pi, x_reflection=True))
bgfc__nmirr.add(gdstk.Reference(via__li_m1, (17.81,0.095), rotation=pi, x_reflection=True))
bgfc__nmirr.add(gdstk.Reference(via__li_m1, (16.81,0.095), rotation=pi, x_reflection=True))
bgfc__nmirr.add(gdstk.Reference(bgfcnm__m4, (24.805,5.45), rotation=pi, x_reflection=True))
bgfc__nmirr.add(gdstk.Reference(bgfcnm__m4, (23.515,5.45), rotation=pi, x_reflection=True))
bgfc__nmirr.add(gdstk.Reference(via__li_m1, (27.585,5.31), rotation=3*pi/2, x_reflection=True))
bgfc__nmirr.add(gdstk.Reference(via__li_m1, (27.585,6.31), rotation=3*pi/2, x_reflection=True))
bgfc__nmirr.add(gdstk.Reference(via__m2_m3, (30.88,4.505), rotation=pi))
bgfc__nmirr.add(gdstk.Reference(via__m2_m3, (29.68,3.705), rotation=pi))
bgfc__nmirr.add(gdstk.Reference(bgfcnm__m5, (22.225,5.45), rotation=pi, x_reflection=True))
bgfc__nmirr.add(gdstk.Reference(via__li_m1, (27.585,1.31), rotation=3*pi/2, x_reflection=True))
bgfc__nmirr.add(gdstk.Reference(via__li_m1, (27.585,2.31), rotation=3*pi/2, x_reflection=True))
bgfc__nmirr.add(gdstk.Reference(via__li_m1, (27.585,3.31), rotation=3*pi/2, x_reflection=True))
bgfc__nmirr.add(gdstk.Reference(via__li_m1, (27.585,4.31), rotation=3*pi/2, x_reflection=True))
bgfc__nmirr.add(gdstk.Reference(via__m2_m3, (28.48,2.905), rotation=pi))
bgfc__nmirr.add(gdstk.Reference(via__m1_m2, (25.1,2.505)))
bgfc__nmirr.add(gdstk.Reference(via__m2_m3, (28.48,2.505), rotation=pi))
bgfc__nmirr.add(gdstk.Reference(via__m2_m3, (28.48,2.105), rotation=pi))
bgfc__nmirr.add(gdstk.Reference(via__m2_m3, (28.48,1.705), rotation=pi))
bgfc__nmirr.add(gdstk.Reference(via__m1_m2, (27.73,2.505)))
bgfc__nmirr.add(gdstk.Reference(via__m1_m2, (27.73,2.105)))
bgfc__nmirr.add(gdstk.Reference(via__m1_m2, (27.73,1.705)))
bgfc__nmirr.add(gdstk.Reference(via__m1_m2, (27.73,1.305)))
bgfc__nmirr.add(gdstk.Reference(via__m2_m3, (28.48,1.305), rotation=pi))
bgfc__nmirr.add(gdstk.Reference(via__m1_m2, (27.73,0.905)))
bgfc__nmirr.add(gdstk.Reference(via__m2_m3, (28.48,0.905), rotation=pi))
bgfc__nmirr.add(gdstk.Reference(via__m1_m2, (27.73,0.505)))
bgfc__nmirr.add(gdstk.Reference(via__m1_m2, (22.52,2.505)))
bgfc__nmirr.add(gdstk.Reference(via__m2_m3, (28.48,0.505), rotation=pi))
bgfc__nmirr.add(gdstk.Reference(via__m1_m2, (27.73,0.105)))
bgfc__nmirr.add(gdstk.Reference(via__m1_m2, (19.94,2.505)))
bgfc__nmirr.add(gdstk.Reference(via__m1_m2, (17.36,2.505)))
bgfc__nmirr.add(gdstk.Reference(via__m1_m2, (24.585,6.84), x_reflection=True))
bgfc__nmirr.add(gdstk.Label('S', (15.125,4.165), layer=83, texttype=44))
bgfc__nmirr.add(gdstk.Label('S', (13.835,1.77), layer=83, texttype=44))
bgfc__nmirr.add(gdstk.Label('S', (17.705,5.24), layer=83, texttype=44))
bgfc__nmirr.add(gdstk.Label('S', (15.125,9.975), layer=83, texttype=44))
bgfc__nmirr.add(gdstk.Label('S', (13.835,12.37), layer=83, texttype=44))
bgfc__nmirr.add(gdstk.Label('S', (17.705,8.9), layer=83, texttype=44))
bgfc__nmirr.add(gdstk.Label('vss', (28.28,13.91), layer=70, texttype=16))
bgfc__nmirr.add(gdstk.Label('vbn1', (31.88,7.04), layer=69, texttype=16))
bgfc__nmirr.add(gdstk.Label('out1n', (31.88,10.64), layer=69, texttype=16))
bgfc__nmirr.add(gdstk.Label('out1p', (31.88,9.835), layer=69, texttype=16))

lib.write_gds('bgfc__nmirr.gds')
